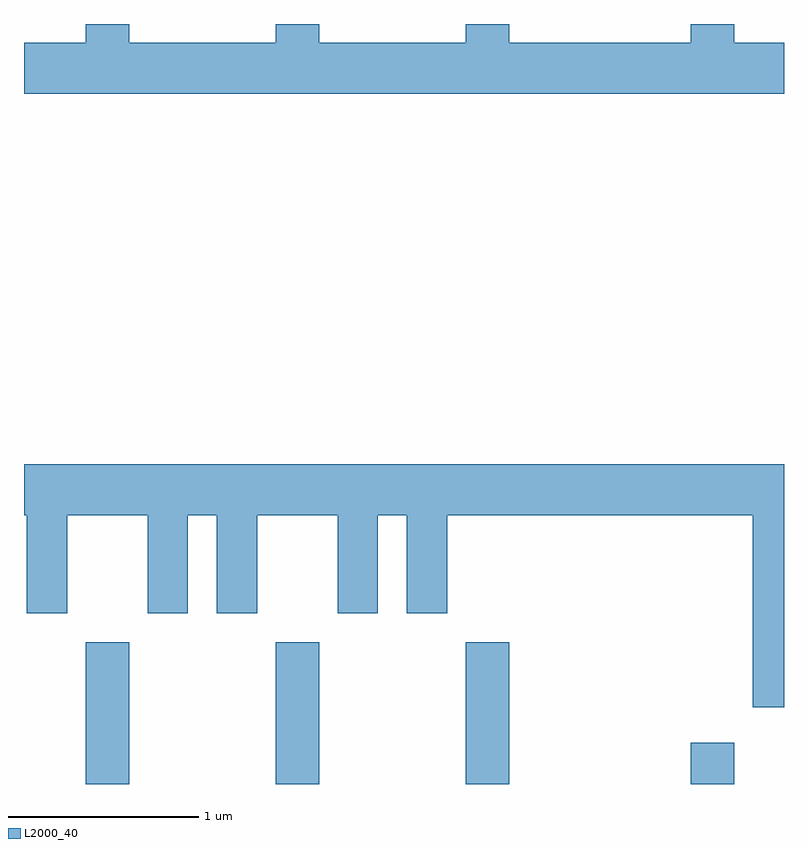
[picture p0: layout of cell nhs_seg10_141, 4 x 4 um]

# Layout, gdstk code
import gdstk
lib = gdstk.Library(unit=1e-6, precision=1e-09)
def R(c, l, rs):  # rectangles x0, y0, x1, y1
    for r in rs: c.add(gdstk.rectangle(r[:2], r[2:], *l))
def A(c, l, x, y, w, h, nx, ny, dx, dy):  # array of equal rectangles
    R(c, l, [(x+i*dx, y+j*dy, x+i*dx+w, y+j*dy+h) for i in range(nx) for j in range(ny)])
def P(c, l, *ps):  # polygons
    for p in ps: c.add(gdstk.Polygon(p, *l))
L2000_40 = (2000, 40)

nhs_seg10_141 = lib.new_cell('nhs_seg10_141')
A(nhs_seg10_141, L2000_40, 189.936, 2092.522, 0.228, 0.747, 3, 1, 1, 0)
R(nhs_seg10_141, L2000_40, [(193.121,2092.522,193.349,2092.739)])
P(nhs_seg10_141, L2000_40, [(193.611,2096.424),(193.349,2096.424),(193.349,2096.522),(193.121,2096.522),(193.121,2096.424),(192.164,2096.424),(192.164,2096.522),(191.936,2096.522),(191.936,2096.424),(191.164,2096.424),(191.164,2096.522),(190.936,2096.522),(190.936,2096.424),(190.164,2096.424),(190.164,2096.522),(189.936,2096.522),(189.936,2096.424),(189.611,2096.424),(189.611,2096.156),(193.611,2096.156)],
  [(193.611,2094.204),(189.611,2094.204),(189.611,2093.936),(189.626,2093.936),(189.626,2093.421),(189.839,2093.421),(189.839,2093.936),(190.261,2093.936),(190.261,2093.421),(190.474,2093.421),(190.474,2093.936),(190.626,2093.936),(190.626,2093.421),(190.839,2093.421),(190.839,2093.936),(191.261,2093.936),(191.261,2093.421),(191.474,2093.421),(191.474,2093.936),(191.626,2093.936),(191.626,2093.421),(191.839,2093.421),(191.839,2093.936),(193.446,2093.936),(193.446,2092.926),(193.611,2092.926)])

lib.write_gds('nhs_seg10_141.gds')
